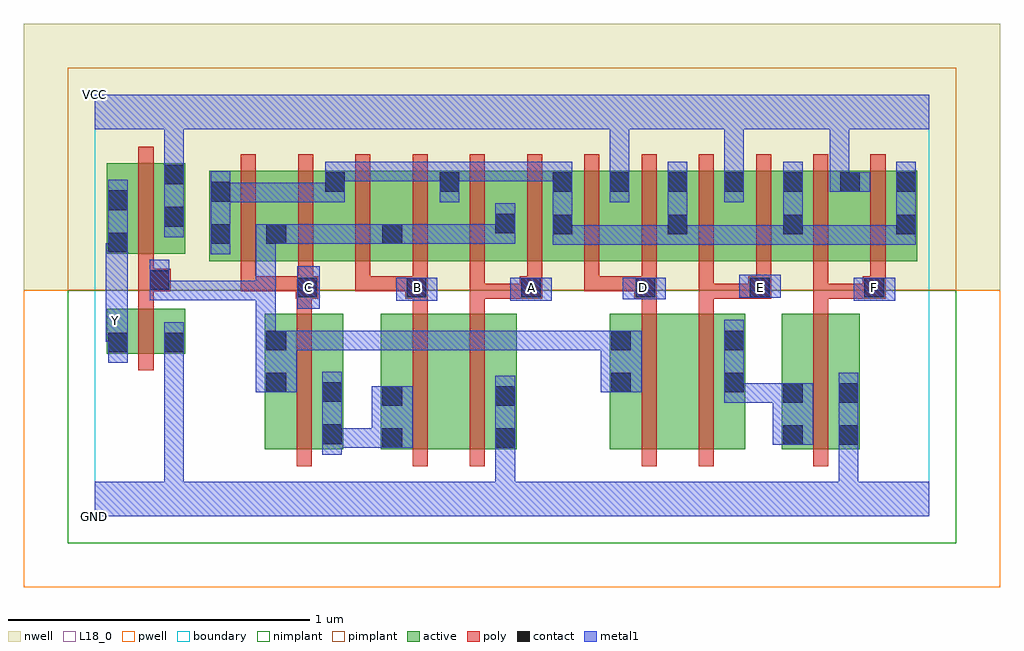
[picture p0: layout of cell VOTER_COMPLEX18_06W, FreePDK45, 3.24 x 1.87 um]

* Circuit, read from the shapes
.subckt VOTER_COMPLEX18_06W A B C D E F GND VCC Y
M1 GND n1 Y VSUBS nfet w=0.15u l=0.05u
M2 n2 C n1 VSUBS nfet w=0.45u l=0.05u
M3 n3 B n2 VSUBS nfet w=0.45u l=0.05u
M4 GND A n3 VSUBS nfet w=0.45u l=0.05u
M5 n4 D n1 VSUBS nfet w=0.45u l=0.05u
M6 n5 E n4 VSUBS nfet w=0.45u l=0.05u
M7 GND F n5 VSUBS nfet w=0.45u l=0.05u
M8 VCC n1 Y n6 pfet w=0.3u l=0.05u
M9 n1 C n7 n6 pfet w=0.3u l=0.05u m=2
M10 n1 B n7 n6 pfet w=0.3u l=0.05u m=2
M11 n1 A n7 n6 pfet w=0.3u l=0.05u m=2
M12 VCC D n7 n6 pfet w=0.3u l=0.05u m=2
M13 VCC E n7 n6 pfet w=0.3u l=0.05u m=2
M14 VCC F n7 n6 pfet w=0.3u l=0.05u m=2
.ends

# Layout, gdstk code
import gdstk
lib = gdstk.Library(unit=1e-6, precision=1e-09)
def R(c, l, rs):  # rectangles x0, y0, x1, y1
    for r in rs: c.add(gdstk.rectangle(r[:2], r[2:], *l))
def A(c, l, x, y, w, h, nx, ny, dx, dy):  # array of equal rectangles
    R(c, l, [(x+i*dx, y+j*dy, x+i*dx+w, y+j*dy+h) for i in range(nx) for j in range(ny)])
active = (1, 0)
pwell = (2, 0)
nwell = (3, 0)
nimplant = (4, 0)
pimplant = (5, 0)
poly = (9, 0)
contact = (10, 0)
metal1 = (11, 0)
L18_0 = (18, 0)
boundary = (235, 0)

voter_complex18_06w = lib.new_cell('VOTER_COMPLEX18_06W')
R(voter_complex18_06w, active, [(0.565,0.222,0.825,0.672), (0.95,0.222,1.175,0.672), (0.95,0.222,1.025,0.542), (1.175,0.222,1.4,0.672), (1.325,0.222,1.4,0.672), (1.71,0.222,1.935,0.672), (1.935,0.222,2.16,0.672), (2.28,0.222,2.355,0.672), (2.28,0.222,2.54,0.672), (2.465,0.222,2.54,0.672), (0.75,0.235,0.825,0.542), (0.565,0.245,0.64,0.672), (1.71,0.245,1.785,0.672), (2.085,0.245,2.16,0.672), (0.04,0.54,0.115,0.69), (0.04,0.54,0.3,0.69), (0.225,0.54,0.3,0.69), (0.38,0.847,0.64,1.147), (0.38,0.847,0.455,1.115), (0.565,0.847,0.835,1.147), (0.76,0.847,1.025,1.147), (0.95,0.847,1.215,1.147), (1.14,0.847,1.4,1.147), (1.325,0.847,1.59,1.147), (1.515,0.847,1.59,1.147), (1.515,0.847,1.78,1.147), (1.705,0.847,1.972,1.147), (1.897,0.847,1.972,1.147), (1.897,0.847,2.16,1.147), (2.085,0.847,2.16,1.147), (2.085,0.847,2.355,1.147), (2.28,0.847,2.355,1.147), (2.28,0.847,2.545,1.147), (2.47,0.847,2.545,1.147), (2.47,0.847,2.73,1.147), (2.655,0.847,2.73,1.147), (0.04,0.872,0.3,1.172), (0.04,0.872,0.115,1.105), (0.225,0.872,0.3,1.172), (0.565,0.9,0.64,1.07), (0.95,0.9,1.025,1.07), (1.325,0.935,1.4,1.07), (0.76,0.995,0.835,1.147), (1.14,0.995,1.215,1.147), (1.705,0.995,1.78,1.147)])
R(voter_complex18_06w, pwell, [(-0.235,-0.235,3.005,0.75)])
R(voter_complex18_06w, nwell, [(-0.235,0.75,3.005,1.635)])
R(voter_complex18_06w, nimplant, [(-0.09,-0.09,2.86,0.75)])
R(voter_complex18_06w, pimplant, [(-0.09,0.75,2.86,1.49)])
A(voter_complex18_06w, poly, 1.03, 0.722, 0.075, 0.075, 5, 1, 0.38, 0)
A(voter_complex18_06w, poly, 0.485, 0.747, 0.05, 0.095, 4, 1, 0.19, 0)
A(voter_complex18_06w, poly, 1.435, 0.747, 0.05, 0.095, 3, 1, 0.19, 0)
A(voter_complex18_06w, poly, 0.485, 0.792, 0.05, 0.41, 12, 1, 0.19, 0)
R(voter_complex18_06w, poly, [(0.67,0.167,0.72,0.727), (1.055,0.167,1.105,0.727), (1.245,0.167,1.295,0.727), (1.815,0.167,1.865,0.727), (2.005,0.167,2.055,0.727), (2.385,0.167,2.435,0.727), (0.145,0.485,0.195,0.745), (0.67,0.677,0.72,0.772), (1.055,0.677,1.105,0.772), (1.245,0.677,1.295,0.772), (1.815,0.677,1.865,0.772), (2.005,0.677,2.055,0.772), (2.385,0.677,2.435,0.772), (0.145,0.695,0.195,0.797), (0.667,0.722,0.742,0.797), (1.245,0.722,1.295,0.772), (1.245,0.722,1.46,0.772), (1.245,0.722,1.295,0.842), (1.41,0.722,1.46,0.772), (1.41,0.722,1.46,0.772), (2.005,0.722,2.055,0.772), (2.005,0.722,2.22,0.772), (2.005,0.722,2.055,0.842), (2.17,0.722,2.22,0.772), (2.17,0.722,2.22,0.772), (2.385,0.722,2.435,0.772), (2.385,0.722,2.6,0.772), (2.385,0.722,2.435,0.842), (2.55,0.722,2.6,0.772), (2.55,0.722,2.6,0.772), (0.145,0.747,0.252,0.822), (0.485,0.747,0.535,0.797), (0.485,0.747,0.535,0.797), (0.485,0.747,0.535,0.797), (0.485,0.747,0.717,0.797), (0.865,0.747,0.915,0.797), (0.865,0.747,0.915,0.797), (0.865,0.747,0.915,0.797), (0.865,0.747,1.08,0.797), (1.625,0.747,1.675,0.797), (1.625,0.747,1.84,0.797), (1.79,0.747,1.84,0.797), (1.79,0.747,1.84,0.797), (2.195,0.747,2.245,0.842), (2.575,0.747,2.625,0.842), (0.145,0.772,0.195,0.867), (0.145,0.817,0.195,1.227)])
A(voter_complex18_06w, contact, 1.035, 0.727, 0.065, 0.065, 5, 1, 0.38, 0)
R(voter_complex18_06w, contact, [(0.955,0.227,1.02,0.292), (1.33,0.227,1.395,0.292), (2.285,0.237,2.35,0.302), (2.47,0.237,2.535,0.302), (0.755,0.24,0.82,0.305), (0.955,0.367,1.02,0.432), (1.33,0.367,1.395,0.432), (2.285,0.377,2.35,0.442), (2.47,0.377,2.535,0.442), (0.755,0.38,0.82,0.445), (0.57,0.412,0.635,0.477), (1.715,0.412,1.78,0.477), (2.09,0.412,2.155,0.477), (0.045,0.545,0.11,0.61), (0.23,0.545,0.295,0.61), (0.57,0.552,0.635,0.617), (1.715,0.552,1.78,0.617), (2.09,0.552,2.155,0.617), (0.672,0.727,0.737,0.792), (0.182,0.752,0.247,0.817), (0.045,0.877,0.11,0.942), (0.385,0.905,0.45,0.97), (0.57,0.905,0.635,0.97), (0.955,0.905,1.02,0.97), (1.52,0.937,1.585,1.002), (1.902,0.937,1.967,1.002), (2.285,0.937,2.35,1.002), (2.66,0.937,2.725,1.002), (1.33,0.94,1.395,1.005), (0.23,0.962,0.295,1.027), (0.045,1.017,0.11,1.082), (0.385,1.045,0.45,1.11), (0.765,1.077,0.83,1.142), (1.145,1.077,1.21,1.142), (1.52,1.077,1.585,1.142), (1.71,1.077,1.775,1.142), (1.902,1.077,1.967,1.142), (2.09,1.077,2.155,1.142), (2.285,1.077,2.35,1.142), (2.475,1.077,2.54,1.142), (2.66,1.077,2.725,1.142), (0.23,1.102,0.295,1.167)])
R(voter_complex18_06w, metal1, [(0,0,2.77,0.115), (0.23,0.05,0.295,0.575), (1.33,0.05,1.395,0.115), (1.33,0.05,1.395,0.115), (1.33,0.05,1.395,0.257), (2.47,0.05,2.535,0.267), (1.33,0.192,1.395,0.467), (2.47,0.202,2.535,0.267), (2.47,0.202,2.535,0.267), (2.47,0.202,2.535,0.477), (0.755,0.205,0.82,0.48), (0.755,0.227,0.82,0.292), (0.755,0.227,0.82,0.292), (0.755,0.227,0.985,0.292), (0.92,0.227,1.055,0.432), (2.25,0.237,2.385,0.442), (2.09,0.377,2.155,0.442), (2.09,0.377,2.155,0.442), (2.09,0.377,2.155,0.652), (2.09,0.377,2.315,0.442), (0.535,0.412,0.67,0.617), (1.68,0.412,1.815,0.617), (0.045,0.51,0.11,0.645), (0.23,0.51,0.295,0.575), (0.23,0.51,0.295,0.575), (0.23,0.51,0.295,0.575), (0.23,0.51,0.295,0.575), (0.23,0.51,0.295,0.575), (0.23,0.51,0.295,0.575), (0.23,0.51,0.295,0.645), (0.535,0.552,0.6,0.782), (0.605,0.552,0.67,0.617), (0.605,0.552,0.67,0.617), (0.605,0.552,0.847,0.617), (0.782,0.552,0.847,0.617), (0.782,0.552,0.847,0.617), (0.782,0.552,0.847,0.617), (0.782,0.552,1.072,0.617), (1.007,0.552,1.072,0.617), (1.007,0.552,1.072,0.617), (1.007,0.552,1.072,0.617), (1.007,0.552,1.21,0.617), (1.145,0.552,1.21,0.617), (1.145,0.552,1.21,0.617), (1.145,0.552,1.21,0.617), (1.145,0.552,1.447,0.617), (1.382,0.552,1.447,0.617), (1.382,0.552,1.447,0.617), (1.382,0.552,1.447,0.617), (1.382,0.552,1.607,0.617), (1.542,0.552,1.607,0.617), (1.542,0.552,1.607,0.617), (1.542,0.552,1.607,0.617), (1.542,0.552,1.745,0.617), (0.037,0.58,0.11,0.907), (0.045,0.58,0.11,0.645), (0.672,0.69,0.747,0.83), (1,0.715,1.137,0.792), (1.38,0.715,1.517,0.792), (2.52,0.715,2.657,0.792), (0.182,0.717,0.247,0.782), (0.182,0.717,0.247,0.782), (0.182,0.717,0.247,0.852), (0.182,0.717,0.462,0.782), (0.397,0.717,0.462,0.782), (0.397,0.717,0.462,0.782), (0.397,0.717,0.462,0.782), (0.397,0.717,0.6,0.782), (0.535,0.717,0.6,0.782), (0.535,0.717,0.6,0.97), (1.752,0.72,1.895,0.792), (2.14,0.725,2.277,0.802), (0.045,0.842,0.11,0.907), (0.045,0.842,0.11,1.117), (0.385,0.87,0.45,1.145), (1.52,0.902,1.585,0.967), (1.52,0.902,1.585,0.967), (1.52,0.902,1.585,0.967), (1.52,0.902,1.585,0.967), (1.52,0.902,1.585,1.177), (1.52,0.902,1.745,0.967), (1.68,0.902,1.745,0.967), (1.68,0.902,1.745,0.967), (1.68,0.902,1.745,0.967), (1.68,0.902,1.967,0.967), (1.902,0.902,1.967,0.967), (1.902,0.902,1.967,0.967), (1.902,0.902,1.967,1.177), (1.902,0.902,2.177,0.967), (2.112,0.902,2.177,0.967), (2.112,0.902,2.177,0.967), (2.112,0.902,2.177,0.967), (2.112,0.902,2.35,0.967), (2.285,0.902,2.35,0.967), (2.285,0.902,2.35,0.967), (2.285,0.902,2.35,1.177), (2.285,0.902,2.487,0.967), (2.422,0.902,2.487,0.967), (2.422,0.902,2.725,0.967), (2.66,0.902,2.725,0.967), (2.66,0.902,2.725,0.967), (2.66,0.902,2.725,1.177), (0.535,0.905,0.67,0.97), (0.605,0.905,0.67,0.97), (0.605,0.905,0.67,0.97), (0.605,0.905,0.847,0.97), (0.782,0.905,0.847,0.97), (0.782,0.905,0.847,0.97), (0.782,0.905,0.847,0.97), (0.782,0.905,0.985,0.97), (0.92,0.905,1.055,0.97), (0.99,0.905,1.055,0.97), (0.99,0.905,1.055,0.97), (0.99,0.905,1.21,0.97), (1.145,0.905,1.21,0.97), (1.145,0.905,1.21,0.97), (1.145,0.905,1.21,0.97), (1.145,0.905,1.395,0.97), (1.33,0.905,1.395,1.04), (0.23,0.927,0.295,1.202), (0.385,1.042,0.45,1.107), (0.385,1.042,0.45,1.107), (0.385,1.042,0.682,1.107), (0.617,1.042,0.682,1.107), (0.617,1.042,0.682,1.107), (0.617,1.042,0.682,1.107), (0.617,1.042,0.83,1.107), (0.765,1.042,0.83,1.177), (1.145,1.042,1.21,1.177), (1.71,1.042,1.775,1.177), (2.09,1.042,2.155,1.177), (2.44,1.077,2.505,1.35), (2.44,1.077,2.575,1.142), (0.765,1.112,0.83,1.177), (0.765,1.112,0.83,1.177), (0.765,1.112,1.072,1.177), (1.007,1.112,1.072,1.177), (1.007,1.112,1.072,1.177), (1.007,1.112,1.072,1.177), (1.007,1.112,1.21,1.177), (1.145,1.112,1.21,1.177), (1.145,1.112,1.21,1.177), (1.145,1.112,1.447,1.177), (1.382,1.112,1.447,1.177), (1.382,1.112,1.447,1.177), (1.382,1.112,1.447,1.177), (1.382,1.112,1.585,1.177), (1.71,1.112,1.775,1.177), (1.71,1.112,1.775,1.177), (1.71,1.112,1.775,1.35), (2.09,1.112,2.155,1.177), (2.09,1.112,2.155,1.177), (2.09,1.112,2.155,1.35), (0.23,1.137,0.295,1.202), (0.23,1.137,0.295,1.35), (0,1.285,2.77,1.4), (0.23,1.285,0.295,1.35), (2.44,1.285,2.505,1.35), (2.44,1.285,2.505,1.35)])
R(voter_complex18_06w, L18_0, [(0,0,2.77,0.115), (0.23,0.05,0.295,0.575), (1.33,0.05,1.395,0.115), (1.33,0.05,1.395,0.115), (1.33,0.05,1.395,0.257), (2.47,0.05,2.535,0.267), (1.33,0.192,1.395,0.467), (2.47,0.202,2.535,0.267), (2.47,0.202,2.535,0.267), (2.47,0.202,2.535,0.477), (0.045,0.51,0.11,0.645), (0.23,0.51,0.295,0.645), (0.23,0.51,0.295,0.575), (0.23,0.51,0.295,0.575), (0.23,0.51,0.295,0.575), (0.23,0.51,0.295,0.575), (0.23,0.51,0.295,0.575), (0.23,0.51,0.295,0.575), (0.037,0.58,0.11,0.907), (0.045,0.58,0.11,0.645), (0.037,0.617,0.102,0.682), (0.672,0.69,0.747,0.83), (1,0.715,1.137,0.792), (1.38,0.715,1.517,0.792), (2.52,0.715,2.657,0.792), (1.752,0.72,1.895,0.792), (2.14,0.725,2.277,0.802), (0.677,0.727,0.742,0.792), (1.037,0.727,1.102,0.792), (1.417,0.727,1.482,0.792), (1.787,0.727,1.852,0.792), (2.177,0.727,2.242,0.792), (2.557,0.727,2.622,0.792), (0.045,0.842,0.11,0.907), (0.045,0.842,0.11,1.117), (0.23,0.927,0.295,1.202), (1.71,1.042,1.775,1.177), (2.09,1.042,2.155,1.177), (2.44,1.077,2.575,1.142), (2.44,1.077,2.505,1.35), (1.71,1.112,1.775,1.177), (1.71,1.112,1.775,1.177), (1.71,1.112,1.775,1.35), (2.09,1.112,2.155,1.177), (2.09,1.112,2.155,1.177), (2.09,1.112,2.155,1.35), (0.23,1.137,0.295,1.202), (0.23,1.137,0.295,1.35), (0,1.285,2.77,1.4), (0.23,1.285,0.295,1.35), (2.44,1.285,2.505,1.35), (2.44,1.285,2.505,1.35)])
R(voter_complex18_06w, boundary, [(0,0,2.77,1.4)])
voter_complex18_06w.add(gdstk.Label('A', (1.45,0.76), layer=11, texttype=0))
voter_complex18_06w.add(gdstk.Label('B', (1.07,0.76), layer=11, texttype=0))
voter_complex18_06w.add(gdstk.Label('C', (0.71,0.76), layer=11, texttype=0))
voter_complex18_06w.add(gdstk.Label('D', (1.82,0.76), layer=11, texttype=0))
voter_complex18_06w.add(gdstk.Label('E', (2.21,0.76), layer=11, texttype=0))
voter_complex18_06w.add(gdstk.Label('F', (2.59,0.76), layer=11, texttype=0))
voter_complex18_06w.add(gdstk.Label('Y', (0.07,0.65), layer=11, texttype=0))
voter_complex18_06w.add(gdstk.Label('VCC', (0,1.4), layer=11, texttype=0))
voter_complex18_06w.add(gdstk.Label('GND', (0,0), layer=11, texttype=0))

lib.write_gds('VOTER_COMPLEX18_06W.gds')
